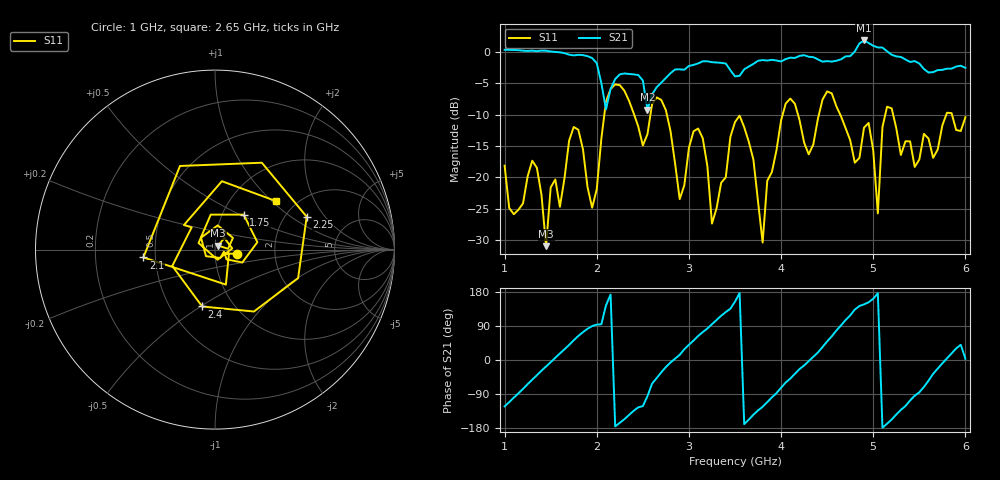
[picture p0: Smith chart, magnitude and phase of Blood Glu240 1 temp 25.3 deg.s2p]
! NanoVNA-App
! Date: 2024-03-21 01:52:21
! Start: 1GHz Stop: 6GHz Points: 101
! S-Parameter data: F S11 S21 S12 S22
# Hz S RI R 50
!	Frequency	S11_Real	S11_Imag	S21_Real	S21_Imag	S12_Real	S12_Imag	S22_Real	S22_Imag
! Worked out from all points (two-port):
!   101 points, 1 GHz to 6 GHz, reference 50 ohm
!   highest |S21| = 1.80 dB at 4.9 GHz (marker M1); lowest = -9.2 dB at 2.55 GHz (marker M2)
!   |S21| within 3 dB of the highest: start of sweep to 1.962 GHz; 4.651 GHz to 5.346 GHz (694.4 MHz wide, 13.9 % of centre)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
!   lowest |S11| = -30.9 dB at 1.45 GHz (marker M3), VSWR 1.06, Z = 51.7 + j2.33 ohm
!   |S11| at or under -10 dB: start of sweep to 2.082 GHz; 2.761 GHz to 4.017 GHz (1.257 GHz wide, 37.1 % of centre); 5.216 GHz to 5.793 GHz (576.8 MHz wide, 10.5 % of centre)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
!   S12 and S22 are empty: the file has one direction only
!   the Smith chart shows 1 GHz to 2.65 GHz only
!   S11 on the Smith chart (normalised r, x): 1 GHz: 1.28, -0.06; 1.75 GHz: 1.26, +0.52; 2.1 GHz: 0.43, -0.04; 2.25 GHz: 2.59, +1.34; 2.4 GHz: 0.72, -0.51; 2.65 GHz: 1.59, +1.06
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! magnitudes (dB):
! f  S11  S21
! 1 GHz  -18.1  0.3
! 1.45 GHz  -30.9  0.2
! 1.75 GHz  -12.0  -0.6
! 1.85 GHz  -15.5  -0.5
! 1.95 GHz  -24.8  -1.0
! 2.1 GHz  -7.9  -9.2
! 2.25 GHz  -5.3  -3.6
! 2.4 GHz  -9.8  -3.6
! 2.55 GHz  -13.1  -9.2
! 2.65 GHz  -7.3  -5.6
! 2.7 GHz  -7.7  -4.9
! 2.9 GHz  -23.4  -2.8
! 3.15 GHz  -13.8  -1.5
! 3.25 GHz  -27.3  -1.7
! 3.5 GHz  -11.2  -3.9
! 3.8 GHz  -30.4  -1.3
! 4.05 GHz  -8.2  -1.2
! 4.35 GHz  -14.7  -0.9
! 4.9 GHz  -12.1  1.8
! 5.05 GHz  -25.7  0.7
! 5.2 GHz  -9.0  -0.5
! 6 GHz  -10.4  -2.6
